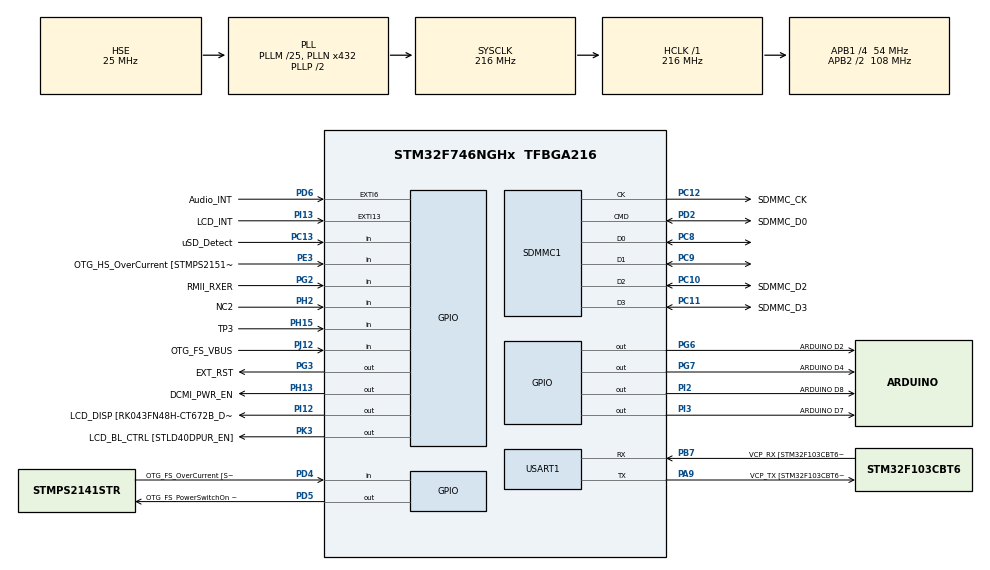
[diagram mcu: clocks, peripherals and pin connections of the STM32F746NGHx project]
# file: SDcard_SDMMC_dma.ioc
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Dma.Request0=SDMMC1_RX
Dma.Request1=SDMMC1_TX
Dma.SDMMC1_RX.0.Direction=DMA_PERIPH_TO_MEMORY
Dma.SDMMC1_RX.0.FIFOMode=DMA_FIFOMODE_ENABLE
Dma.SDMMC1_RX.0.FIFOThreshold=DMA_FIFO_THRESHOLD_FULL
Dma.SDMMC1_RX.0.Instance=DMA2_Stream3
Dma.SDMMC1_RX.0.MemBurst=DMA_MBURST_INC4
Dma.SDMMC1_RX.0.MemDataAlignment=DMA_MDATAALIGN_WORD
Dma.SDMMC1_RX.0.MemInc=DMA_MINC_ENABLE
Dma.SDMMC1_RX.0.Mode=DMA_PFCTRL
Dma.SDMMC1_RX.0.PeriphBurst=DMA_PBURST_INC4
Dma.SDMMC1_RX.0.PeriphDataAlignment=DMA_PDATAALIGN_WORD
Dma.SDMMC1_RX.0.PeriphInc=DMA_PINC_DISABLE
Dma.SDMMC1_RX.0.Priority=DMA_PRIORITY_LOW
Dma.SDMMC1_TX.1.Direction=DMA_MEMORY_TO_PERIPH
Dma.SDMMC1_TX.1.FIFOMode=DMA_FIFOMODE_ENABLE
Dma.SDMMC1_TX.1.FIFOThreshold=DMA_FIFO_THRESHOLD_FULL
Dma.SDMMC1_TX.1.Instance=DMA2_Stream6
Dma.SDMMC1_TX.1.MemBurst=DMA_MBURST_INC4
Dma.SDMMC1_TX.1.MemDataAlignment=DMA_MDATAALIGN_WORD
Dma.SDMMC1_TX.1.MemInc=DMA_MINC_ENABLE
Dma.SDMMC1_TX.1.Mode=DMA_PFCTRL
Dma.SDMMC1_TX.1.PeriphBurst=DMA_PBURST_INC4
Dma.SDMMC1_TX.1.PeriphDataAlignment=DMA_PDATAALIGN_WORD
Dma.SDMMC1_TX.1.PeriphInc=DMA_PINC_DISABLE
Dma.SDMMC1_TX.1.Priority=DMA_PRIORITY_LOW
FATFS.BSP.number=1
FATFS.USE_DMA_CODE_SD=1
FATFS0.BSP.STBoard=false
FATFS0.BSP.api=Unknown
FATFS0.BSP.instance=PC13
FATFS0.BSP.ip=GPIO
FATFS0.BSP.mode=Input
FATFS0.BSP.name=Detect_SDIO
FATFS0.BSP.solution=PC13
Mcu.Family=STM32F7
Mcu.Name=STM32F746NGHx
Mcu.Package=TFBGA216
NVIC.DMA2_Stream3_IRQn=true\:0\:0\:false\:false\:true\:false\:true\:true
NVIC.DMA2_Stream6_IRQn=true\:0\:0\:false\:false\:true\:false\:true\:true
NVIC.PriorityGroup=NVIC_PRIORITYGROUP_4
NVIC.SDMMC1_IRQn=true\:0\:0\:false\:false\:true\:true\:true\:true
PA0/WKUP.GPIO_Label=ARDUINO A0
PA0/WKUP.GPIO_Mode=GPIO_MODE_ANALOG
PA0/WKUP.GPIO_PuPd=GPIO_NOPULL
PA0/WKUP.Signal=ADCx_IN0
PA1.GPIO_Label=RMII_REF_CLK [LAN8742A-CZ-TR_REFCLK0]
PA1.Signal=ETH_REF_CLK
PA10.GPIO_Label=OTG_FS_ID
PA10.Signal=USB_OTG_FS_ID
PA11.GPIO_Label=OTG_FS_N
PA11.Signal=USB_OTG_FS_DM
PA12.GPIO_Label=OTG_FS_P
PA12.Signal=USB_OTG_FS_DP
PA13.GPIO_Label=SWDIO
PA13.Mode=Serial_Wire
PA13.Signal=SYS_JTMS-SWDIO
PA14.GPIO_Label=SWCLK
PA14.Mode=Serial_Wire
PA14.Signal=SYS_JTCK-SWCLK
PA15.GPIO_Label=ARDUINO PWM/D9
PA15.GPIO_ModeDefaultPP=GPIO_MODE_AF_PP
PA15.GPIO_PuPd=GPIO_NOPULL
PA15.GPIO_Speed=GPIO_SPEED_FREQ_LOW
PA15.Signal=S_TIM2_CH1_ETR
PA2.GPIO_Label=RMII_MDIO [LAN8742A-CZ-TR_MDIO]
PA2.Signal=ETH_MDIO
PA3.GPIO_Label=ULPI_D0 [USB3320C-EZK_D0]
PA3.Signal=USB_OTG_HS_ULPI_D0
PA4.GPIO_Label=DCMI_HSYNC
PA4.Signal=DCMI_HSYNC
PA5.GPIO_Label=ULPI_CLK [USB3320C-EZK_CLKOUT]
PA5.Signal=USB_OTG_HS_ULPI_CK
PA6.Signal=DCMI_PIXCLK
PA7.GPIO_Label=RMII_CRS_DV [LAN8742A-CZ-TR_CRS_DV]
PA7.Signal=ETH_CRS_DV
PA8.GPIO_Label=ARDUINO PWM/D10
PA8.GPIO_ModeDefaultPP=GPIO_MODE_AF_PP
PA8.GPIO_PuPd=GPIO_NOPULL
PA8.GPIO_Speed=GPIO_SPEED_FREQ_LOW
PA8.Signal=S_TIM1_CH1
PA9.GPIO_Label=VCP_TX [STM32F103CBT6_PA3]
PA9.GPIO_Mode=GPIO_MODE_AF_PP
PA9.GPIO_PuPd=GPIO_NOPULL
PA9.GPIO_Speed=GPIO_SPEED_FREQ_LOW
PA9.Mode=Asynchronous
PA9.Signal=USART1_TX
PB0.GPIO_Label=ULPI_D1 [USB3320C-EZK_D1]
PB0.Signal=USB_OTG_HS_ULPI_D1
PB1.GPIO_Label=ULPI_D2 [USB3320C-EZK_D2]
PB1.Signal=USB_OTG_HS_ULPI_D2
PB10.GPIO_Label=ULPI_D3 [USB3320C-EZK_D3]
PB10.Signal=USB_OTG_HS_ULPI_D3
PB11.GPIO_Label=ULPI_D4 [USB3320C-EZK_D4]
PB11.Signal=USB_OTG_HS_ULPI_D4
PB12.GPIO_Label=ULPI_D5 [USB3320C-EZK_D5]
PB12.Signal=USB_OTG_HS_ULPI_D5
PB13.GPIO_Label=ULPI_D6 [USB3320C-EZK_D6]
PB13.Signal=USB_OTG_HS_ULPI_D6
PB14.GPIO_Label=ARDUINO MISO/D12
PB14.GPIO_Mode=GPIO_MODE_AF_PP
PB14.GPIO_PuPd=GPIO_NOPULL
PB14.GPIO_Speed=GPIO_SPEED_FREQ_LOW
PB14.Signal=SPI2_MISO
PB15.GPIO_Label=ARDUINO MOSI/PWM/D11
PB15.GPIO_Mode=GPIO_MODE_AF_PP
PB15.GPIO_PuPd=GPIO_NOPULL
PB15.GPIO_Speed=GPIO_SPEED_FREQ_LOW
PB15.Signal=SPI2_MOSI
PB2.Signal=QUADSPI_CLK
PB3.GPIO_Label=SWO
PB3.Signal=SYS_JTDO-SWO
PB4.GPIO_Label=ARDUINO PWM/D3
PB4.GPIO_ModeDefaultPP=GPIO_MODE_AF_PP
PB4.GPIO_PuPd=GPIO_NOPULL
PB4.GPIO_Speed=GPIO_SPEED_FREQ_LOW
PB4.Signal=S_TIM3_CH1
PB5.GPIO_Label=ULPI_D7 [USB3320C-EZK_D7]
PB5.Signal=USB_OTG_HS_ULPI_D7
PB6.GPIO_Label=QSPI_NCS [N25Q128A13EF840E_S]
PB6.Signal=QUADSPI_BK1_NCS
PB7.GPIO_Label=VCP_RX [STM32F103CBT6_PA2]
PB7.GPIO_Mode=GPIO_MODE_AF_PP
PB7.GPIO_PuPd=GPIO_NOPULL
PB7.GPIO_Speed=GPIO_SPEED_FREQ_LOW
PB7.Mode=Asynchronous
PB7.Signal=USART1_RX
PB8.GPIO_Label=ARDUINO SCL/D15
PB8.GPIO_Mode=GPIO_MODE_AF_OD
PB8.GPIO_PuPd=GPIO_NOPULL
PB8.GPIO_Speed=GPIO_SPEED_FREQ_LOW
PB8.Signal=I2C1_SCL
PB9.GPIO_Label=ARDUINO SDA/D14
PB9.GPIO_Mode=GPIO_MODE_AF_OD
PB9.GPIO_PuPd=GPIO_NOPULL
PB9.GPIO_Speed=GPIO_SPEED_FREQ_LOW
PB9.Signal=I2C1_SDA
PC0.GPIO_Label=ULPI_STP [USB3320C-EZK_STP]
PC0.Signal=USB_OTG_HS_ULPI_STP
PC1.GPIO_Label=RMII_MDC [LAN8742A-CZ-TR_MDC]
PC1.Signal=ETH_MDC
PC10.GPIO_Label=SDMMC_D2
PC10.Mode=SD_4_bits_Wide_bus
PC10.Signal=SDMMC1_D2
PC11.GPIO_Label=SDMMC_D3
PC11.Mode=SD_4_bits_Wide_bus
PC11.Signal=SDMMC1_D3
PC12.GPIO_Label=SDMMC_CK
PC12.Mode=SD_4_bits_Wide_bus
PC12.Signal=SDMMC1_CK
PC13.GPIO_Label=uSD_Detect
PC13.Signal=GPIO_Input
PC14/OSC32_IN.GPIO_Label=RCC_OSC32_IN
PC14/OSC32_IN.Mode=LSE-External-Oscillator
PC14/OSC32_IN.Signal=RCC_OSC32_IN
PC15/OSC32_OUT.GPIO_Label=RCC_OSC32_OUT
PC15/OSC32_OUT.Mode=LSE-External-Oscillator
PC15/OSC32_OUT.Signal=RCC_OSC32_OUT
PC2.GPIO_Label=ULPI_DIR [USB3320C-EZK_DIR]
PC2.Signal=USB_OTG_HS_ULPI_DIR
PC3.GPIO_Label=FMC_SDCKE0 [MT48LC4M32B2B5-6A_CKE]
PC3.Signal=FMC_SDCKE0
PC4.GPIO_Label=RMII_RXD0 [LAN8742A-CZ-TR_RXD0]
PC4.Signal=ETH_RXD0
PC5.GPIO_Label=RMII_RXD1 [LAN8742A-CZ-TR_RXD1]
PC5.Signal=ETH_RXD1
PC6.GPIO_Label=ARDUINO TX/D1
PC6.Signal=USART6_TX
PC7.GPIO_Label=ARDUINO RX/D0
PC7.Signal=USART6_RX
PC8.Mode=SD_4_bits_Wide_bus
PC8.Signal=SDMMC1_D0
PC9.Mode=SD_4_bits_Wide_bus
PC9.Signal=SDMMC1_D1
PD0.GPIO_Label=FMC_D2 [MT48LC4M32B2B5-6A_DQ2]
PD0.Signal=FMC_D2_DA2
PD1.GPIO_Label=FMC_D3 [MT48LC4M32B2B5-6A_DQ3]
PD1.Signal=FMC_D3_DA3
PD10.GPIO_Label=FMC_D15 [MT48LC4M32B2B5-6A_DQ15]
PD10.Signal=FMC_D15_DA15
PD11.GPIO_Label=QSPI_D0 [N25Q128A13EF840E_DQ0]
PD11.Signal=QUADSPI_BK1_IO0
PD12.GPIO_Label=QSPI_D1 [N25Q128A13EF840E_DQ1]
PD12.Signal=QUADSPI_BK1_IO1
PD13.GPIO_Label=QSPI_D3 [N25Q128A13EF840E_DQ3]
PD13.Signal=QUADSPI_BK1_IO3
PD14.GPIO_Label=FMC_D0 [MT48LC4M32B2B5-6A_DQ0]
PD14.Signal=FMC_D0_DA0
PD15.GPIO_Label=FMC_D1 [MT48LC4M32B2B5-6A_DQ1]
PD15.Signal=FMC_D1_DA1
PD2.GPIO_Label=SDMMC_D0
PD2.Mode=SD_4_bits_Wide_bus
PD2.Signal=SDMMC1_CMD
PD3.GPIO_Label=DCMI_D5
PD3.Signal=DCMI_D5
PD4.GPIO_Label=OTG_FS_OverCurrent [STMPS2141STR_Fault]
PD4.Signal=GPIO_Input
PD5.GPIO_Label=OTG_FS_PowerSwitchOn [STMPS2141STR_EN]
PD5.PinState=GPIO_PIN_SET
PD5.Signal=GPIO_Output
PD6.GPIO_Label=Audio_INT
PD6.GPIO_ModeDefaultEXTI=GPIO_MODE_EVT_RISING
PD6.Signal=GPXTI6
PD7.GPIO_Label=SPDIF_RX0 [74LVC1G04SE_4]
PD7.Signal=SPDIFRX_IN0
PD8.GPIO_Label=FMC_D13 [MT48LC4M32B2B5-6A_DQ13]
PD8.Signal=FMC_D13_DA13
PD9.GPIO_Label=FMC_D14 [MT48LC4M32B2B5-6A_DQ14]
PD9.Signal=FMC_D14_DA14
PE0.GPIO_Label=FMC_NBL0 [MT48LC4M32B2B5-6A_DQM0]
PE0.Signal=FMC_NBL0
PE1.GPIO_Label=FMC_NBL1 [MT48LC4M32B2B5-6A_DQM1]
PE1.Signal=FMC_NBL1
PE10.GPIO_Label=FMC_D7 [MT48LC4M32B2B5-6A_DQ7]
PE10.Signal=FMC_D7_DA7
PE11.GPIO_Label=FMC_D8 [MT48LC4M32B2B5-6A_DQ8]
PE11.Signal=FMC_D8_DA8
PE12.GPIO_Label=FMC_D9 [MT48LC4M32B2B5-6A_DQ9]
PE12.Signal=FMC_D9_DA9
PE13.GPIO_Label=FMC_D10 [MT48LC4M32B2B5-6A_DQ10]
PE13.Signal=FMC_D10_DA10
PE14.GPIO_Label=FMC_D11 [MT48LC4M32B2B5-6A_DQ11]
PE14.Signal=FMC_D11_DA11
PE15.GPIO_Label=FMC_D12 [MT48LC4M32B2B5-6A_DQ12]
PE15.Signal=FMC_D12_DA12
PE2.GPIO_Label=QSPI_D2 [N25Q128A13EF840E_DQ2]
PE2.Signal=QUADSPI_BK1_IO2
PE3.GPIO_Label=OTG_HS_OverCurrent [STMPS2151STR_FAULT]
PE3.Signal=GPIO_Input
PE4.GPIO_Label=LCD_B0 [RK043FN48H-CT672B_B0]
PE4.Signal=LTDC_B0
PE5.GPIO_Label=DCMI_D6
PE5.Signal=DCMI_D6
PE6.GPIO_Label=DCMI_D7
PE6.Signal=DCMI_D7
PE7.GPIO_Label=FMC_D4 [MT48LC4M32B2B5-6A_DQ4]
PE7.Signal=FMC_D4_DA4
PE8.GPIO_Label=FMC_D5 [MT48LC4M32B2B5-6A_DQ5]
PE8.Signal=FMC_D5_DA5
PE9.GPIO_Label=FMC_D6 [MT48LC4M32B2B5-6A_DQ6]
PE9.Signal=FMC_D6_DA6
PF0.GPIO_Label=FMC_A0 [MT48LC4M32B2B5-6A_A0]
PF0.Signal=FMC_A0
PF1.GPIO_Label=FMC_A1 [MT48LC4M32B2B5-6A_A1]
PF1.Signal=FMC_A1
PF10.GPIO_Label=ARDUINO A1
PF10.GPIO_Mode=GPIO_MODE_ANALOG
PF10.GPIO_PuPd=GPIO_NOPULL
PF10.Signal=ADC3_IN8
PF11.GPIO_Label=FMC_SDNRAS [MT48LC4M32B2B5-6A_RAS]
PF11.Signal=FMC_SDNRAS
PF12.GPIO_Label=FMC_A6 [MT48LC4M32B2B5-6A_A6]
PF12.Signal=FMC_A6
PF13.GPIO_Label=FMC_A7 [MT48LC4M32B2B5-6A_A7]
PF13.Signal=FMC_A7
PF14.GPIO_Label=FMC_A8 [MT48LC4M32B2B5-6A_A8]
PF14.Signal=FMC_A8
PF15.GPIO_Label=FMC_A9 [MT48LC4M32B2B5-6A_A9]
PF15.Signal=FMC_A9
PF2.GPIO_Label=FMC_A2 [MT48LC4M32B2B5-6A_A2]
PF2.Signal=FMC_A2
PF3.GPIO_Label=FMC_A3 [MT48LC4M32B2B5-6A_A3]
PF3.Signal=FMC_A3
PF4.GPIO_Label=FMC_A4 [MT48LC4M32B2B5-6A_A4]
PF4.Signal=FMC_A4
PF5.GPIO_Label=FMC_A5 [MT48LC4M32B2B5-6A_A5]
PF5.Signal=FMC_A5
PF6.GPIO_Label=ARDUINO A5
PF6.GPIO_Mode=GPIO_MODE_ANALOG
PF6.GPIO_PuPd=GPIO_NOPULL
PF6.Signal=ADC3_IN4
PF7.GPIO_Label=ARDUINO A4
PF7.GPIO_Mode=GPIO_MODE_ANALOG
PF7.GPIO_PuPd=GPIO_NOPULL
PF7.Signal=ADC3_IN5
PF8.GPIO_Label=ARDUINO A3
PF8.GPIO_Mode=GPIO_MODE_ANALOG
PF8.GPIO_PuPd=GPIO_NOPULL
PF8.Signal=ADC3_IN6
PF9.GPIO_Label=ARDUINO A2
PF9.GPIO_Mode=GPIO_MODE_ANALOG
PF9.GPIO_PuPd=GPIO_NOPULL
PF9.Signal=ADC3_IN7
PG0.GPIO_Label=FMC_A10 [MT48LC4M32B2B5-6A_A10]
PG0.Signal=FMC_A10
PG1.GPIO_Label=FMC_A11 [MT48LC4M32B2B5-6A_A11]
PG1.Signal=FMC_A11
PG10.GPIO_Label=SAI2_SDB [WM8994ECS/R_ADCDAT1]
PG10.Signal=SAI2_SD_B
PG11.GPIO_Label=RMII_TX_EN [LAN8742A-CZ-TR_TXEN]
PG11.Signal=ETH_TX_EN
PG12.GPIO_Label=LCD_B4 [RK043FN48H-CT672B_B4]
PG12.Signal=LTDC_B4
PG13.GPIO_Label=RMII_TXD0 [LAN8742A-CZ-TR_TXD0]
PG13.Signal=ETH_TXD0
PG14.GPIO_Label=RMII_TXD1 [LAN8742A-CZ-TR_TXD1]
PG14.Signal=ETH_TXD1
PG15.GPIO_Label=FMC_SDNCAS [MT48LC4M32B2B5-6A_CAS]
PG15.Signal=FMC_SDNCAS
PG2.GPIO_Label=RMII_RXER
PG2.Signal=GPIO_Input
PG3.GPIO_Label=EXT_RST
PG3.Signal=GPIO_Output
PG4.GPIO_Label=FMC_BA0 [MT48LC4M32B2B5-6A_BA0]
PG4.Signal=FMC_A14_BA0
PG5.GPIO_Label=FMC_BA1 [MT48LC4M32B2B5-6A_BA1]
PG5.Signal=FMC_A15_BA1
PG6.GPIO_Label=ARDUINO D2
PG6.Signal=GPIO_Output
PG7.GPIO_Label=ARDUINO D4
PG7.Signal=GPIO_Output
PG8.GPIO_Label=FMC_SDCLK [MT48LC4M32B2B5-6A_CLK]
PG8.Signal=FMC_SDCLK
PG9.GPIO_Label=DCMI_VSYNC
PG9.Signal=DCMI_VSYNC
PH0/OSC_IN.GPIO_Label=OSC_25M [NZ2520SB-25.00M_OUT]
PH0/OSC_IN.Mode=HSE-External-Oscillator
PH0/OSC_IN.Signal=RCC_OSC_IN
PH1/OSC_OUT.Mode=HSE-External-Oscillator
PH1/OSC_OUT.Signal=RCC_OSC_OUT
PH10.GPIO_Label=DCMI_D1
PH10.Signal=DCMI_D1
PH11.GPIO_Label=DCMI_D2
PH11.Signal=DCMI_D2
PH12.GPIO_Label=DCMI_D3
PH12.Signal=DCMI_D3
PH13.GPIO_Label=DCMI_PWR_EN
PH13.Signal=GPIO_Output
PH14.GPIO_Label=DCMI_D4
PH14.Signal=DCMI_D4
PH15.GPIO_Label=TP3
PH15.Signal=GPIO_Input
PH2.GPIO_Label=NC2
PH2.Signal=GPIO_Input
PH3.GPIO_Label=FMC_SDNE0 [MT48LC4M32B2B5-6A_CS]
PH3.Signal=FMC_SDNE0
PH4.GPIO_Label=ULPI_NXT [USB3320C-EZK_NXT]
PH4.Signal=USB_OTG_HS_ULPI_NXT
PH5.GPIO_Label=FMC_SDNME [MT48LC4M32B2B5-6A_WE]
PH5.Signal=FMC_SDNWE
PH6.GPIO_Label=ARDUINO PWM/D6
PH6.Signal=S_TIM12_CH1
PH7.GPIO_Label=LCD_SCL [RK043FN48H-CT672B_SCL]
PH7.Signal=I2C3_SCL
PH8.GPIO_Label=LCD_SDA [RK043FN48H-CT672B_SDA]
PH8.Signal=I2C3_SDA
PH9.GPIO_Label=DCMI_D0
PH9.Signal=DCMI_D0
PI0.GPIO_Label=ARDUINO PWM/CS/D5
PI0.GPIO_ModeDefaultPP=GPIO_MODE_AF_PP
PI0.GPIO_PuPd=GPIO_NOPULL
PI0.GPIO_Speed=GPIO_SPEED_FREQ_LOW
PI0.Signal=S_TIM5_CH4
PI1.GPIO_Label=ARDUINO SCK/D13
PI1.GPIO_Mode=GPIO_MODE_AF_PP
PI1.GPIO_PuPd=GPIO_NOPULL
PI1.GPIO_Speed=GPIO_SPEED_FREQ_LOW
PI1.Signal=SPI2_SCK
PI10.GPIO_Label=LCD_HSYNC [RK043FN48H-CT672B_HSYNC]
PI10.Signal=LTDC_HSYNC
PI12.GPIO_Label=LCD_DISP [RK043FN48H-CT672B_DISP] 
PI12.Signal=GPIO_Output
PI13.GPIO_Label=LCD_INT
PI13.GPIO_ModeDefaultEXTI=GPIO_MODE_EVT_RISING
PI13.Signal=GPXTI13
PI14.GPIO_Label=LCD_CLK [RK043FN48H-CT672B_CLK]
PI14.Signal=LTDC_CLK
PI15.GPIO_Label=LCD_R0 [RK043FN48H-CT672B_R0]
PI15.Signal=LTDC_R0
PI2.GPIO_Label=ARDUINO D8
PI2.Signal=GPIO_Output
PI3.GPIO_Label=ARDUINO D7
PI3.Signal=GPIO_Output
PI4.GPIO_Label=SAI2_MCLKA [WM8994ECS/R_MCLK1]
PI4.Signal=SAI2_MCLK_A
PI5.GPIO_Label=SAI2_SCKA [WM8994ECS/R_BCLK1]
PI5.Signal=SAI2_SCK_A
PI6.GPIO_Label=SAI2_SDA [WM8994ECS/R_DACDAT1]
PI6.Signal=SAI2_SD_A
PI7.GPIO_Label=SAI2_FSA [WM8994ECS/R_LRCLK1]
PI7.Signal=SAI2_FS_A
PI8.GPIO_Label=NC1 [TP2]
PI8.Signal=RTC_TS
PI9.GPIO_Label=LCD_VSYNC [RK043FN48H-CT672B_VSYNC]
PI9.Signal=LTDC_VSYNC
PJ0.GPIO_Label=LCD_R1 [RK043FN48H-CT672B_R1]
PJ0.Signal=LTDC_R1
PJ1.GPIO_Label=LCD_R2 [RK043FN48H-CT672B_R2]
PJ1.Signal=LTDC_R2
PJ10.GPIO_Label=LCD_G3 [RK043FN48H-CT672B_G3]
PJ10.Signal=LTDC_G3
PJ11.GPIO_Label=LCD_G4 [RK043FN48H-CT672B_G4]
PJ11.Signal=LTDC_G4
PJ12.GPIO_Label=OTG_FS_VBUS
PJ12.Signal=GPIO_Input
PJ13.GPIO_Label=LCD_B1 [RK043FN48H-CT672B_B1]
PJ13.Signal=LTDC_B1
PJ14.GPIO_Label=LCD_B2 [RK043FN48H-CT672B_B2]
PJ14.Signal=LTDC_B2
PJ15.GPIO_Label=LCD_B3 [RK043FN48H-CT672B_B3]
PJ15.Signal=LTDC_B3
PJ2.GPIO_Label=LCD_R3 [RK043FN48H-CT672B_R3]
PJ2.Signal=LTDC_R3
PJ3.GPIO_Label=LCD_R4 [RK043FN48H-CT672B_R4]
PJ3.Signal=LTDC_R4
PJ4.GPIO_Label=LCD_R5 [RK043FN48H-CT672B_R5]
PJ4.Signal=LTDC_R5
PJ5.GPIO_Label=LCD_R6 [RK043FN48H-CT672B_R6]
PJ5.Signal=LTDC_R6
PJ6.GPIO_Label=LCD_R7 [RK043FN48H-CT672B_R7]
PJ6.Signal=LTDC_R7
PJ7.GPIO_Label=LCD_G0 [RK043FN48H-CT672B_G0]
PJ7.Signal=LTDC_G0
PJ8.GPIO_Label=LCD_G1 [RK043FN48H-CT672B_G1]
PJ8.Signal=LTDC_G1
PJ9.GPIO_Label=LCD_G2 [RK043FN48H-CT672B_G2]
PJ9.Signal=LTDC_G2
PK0.GPIO_Label=LCD_G5 [RK043FN48H-CT672B_G5]
PK0.Signal=LTDC_G5
PK1.GPIO_Label=LCD_G6 [RK043FN48H-CT672B_G6]
PK1.Signal=LTDC_G6
PK2.GPIO_Label=LCD_G7 [RK043FN48H-CT672B_G7]
PK2.Signal=LTDC_G7
PK3.GPIO_Label=LCD_BL_CTRL [STLD40DPUR_EN]
PK3.Signal=GPIO_Output
PK4.GPIO_Label=LCD_B5 [RK043FN48H-CT672B_B5]
PK4.Signal=LTDC_B5
PK5.GPIO_Label=LCD_B6 [RK043FN48H-CT672B_B6]
PK5.Signal=LTDC_B6
PK6.GPIO_Label=LCD_B7 [RK043FN48H-CT672B_B7]
PK6.Signal=LTDC_B7
PK7.GPIO_Label=LCD_DE [RK043FN48H-CT672B_DE]
PK7.Signal=LTDC_DE
ProjectManager.HeapSize=0x400
ProjectManager.StackSize=0x800
ProjectManager.TargetToolchain=STM32CubeIDE
RCC.AHBFreq_Value=216000000
RCC.APB1CLKDivider=RCC_HCLK_DIV4
RCC.APB1Freq_Value=54000000
RCC.APB1TimFreq_Value=108000000
RCC.APB2CLKDivider=RCC_HCLK_DIV2
RCC.APB2Freq_Value=108000000
RCC.APB2TimFreq_Value=216000000
RCC.CortexFreq_Value=216000000
RCC.HCLKFreq_Value=216000000
RCC.HSE_VALUE=25000000
RCC.HSI_VALUE=16000000
RCC.PLLM=25
RCC.PLLN=432
RCC.PLLQ=9
RCC.PLLSourceVirtual=RCC_PLLSOURCE_HSE
RCC.SDMMCClockSelection=RCC_SDMMC1CLKSOURCE_CLK48
RCC.SYSCLKFreq_VALUE=216000000
RCC.SYSCLKSource=RCC_SYSCLKSOURCE_PLLCLK
RCC.USBFreq_Value=48000000
RCC.VCOOutputFreq_Value=432000000
SH.ADCx_IN0.0=ADC3_IN0
SH.FMC_A0.0=FMC_A0
SH.FMC_A1.0=FMC_A1
SH.FMC_A10.0=FMC_A10
SH.FMC_A11.0=FMC_A11
SH.FMC_A14_BA0.0=FMC_BA0
SH.FMC_A15_BA1.0=FMC_BA1
SH.FMC_A2.0=FMC_A2
SH.FMC_A3.0=FMC_A3
SH.FMC_A4.0=FMC_A4
SH.FMC_A5.0=FMC_A5
SH.FMC_A6.0=FMC_A6
SH.FMC_A7.0=FMC_A7
SH.FMC_A8.0=FMC_A8
SH.FMC_A9.0=FMC_A9
SH.FMC_D0_DA0.0=FMC_D0
SH.FMC_D10_DA10.0=FMC_D10
SH.FMC_D11_DA11.0=FMC_D11
SH.FMC_D12_DA12.0=FMC_D12
SH.FMC_D13_DA13.0=FMC_D13
SH.FMC_D14_DA14.0=FMC_D14
SH.FMC_D15_DA15.0=FMC_D15
SH.FMC_D1_DA1.0=FMC_D1
SH.FMC_D2_DA2.0=FMC_D2
SH.FMC_D3_DA3.0=FMC_D3
SH.FMC_D4_DA4.0=FMC_D4
SH.FMC_D5_DA5.0=FMC_D5
SH.FMC_D6_DA6.0=FMC_D6
SH.FMC_D7_DA7.0=FMC_D7
SH.FMC_D8_DA8.0=FMC_D8
SH.FMC_D9_DA9.0=FMC_D9
SH.FMC_NBL0.0=FMC_NBL0
SH.FMC_NBL1.0=FMC_NBL1
SH.FMC_SDCLK.0=FMC_SDCLK
SH.FMC_SDNCAS.0=FMC_SDNCAS
SH.FMC_SDNRAS.0=FMC_SDNRAS
SH.FMC_SDNWE.0=FMC_SDNWE
SH.S_TIM12_CH1.0=TIM12_CH1
SH.S_TIM1_CH1.0=TIM1_CH1
SH.S_TIM2_CH1_ETR.0=TIM2_CH1
SH.S_TIM3_CH1.0=TIM3_CH1
SH.S_TIM5_CH4.0=TIM5_CH4
USART1.VirtualMode-Asynchronous=VM_ASYNC
VP_FATFS_VS_SDIO.Mode=SDIO
board=STM32F746G-DISCO

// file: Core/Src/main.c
/* USER CODE BEGIN Header */
/**
  ******************************************************************************
  * @file           : main.c
  * @brief          : Main program body
  ******************************************************************************
  * @attention
  *
  * Copyright (c) 2025 STMicroelectronics.
  * All rights reserved.
  *
  * This software is licensed under terms that can be found in the LICENSE file
  * in the root directory of this software component.
  * If no LICENSE file comes with this software, it is provided AS-IS.
  *
  ******************************************************************************
  */
/* USER CODE END Header */
#include "main.h"
#include "fatfs.h"
#include <stdio.h>
#include <string.h>

SD_HandleTypeDef hsd1;
DMA_HandleTypeDef hdma_sdmmc1_rx;
DMA_HandleTypeDef hdma_sdmmc1_tx;

UART_HandleTypeDef huart1;

static uint8_t workBuffer[_MAX_SS];

/* USER CODE BEGIN PV */
int __io_putchar(int ch){
	uint8_t c = (uint8_t)ch;
	HAL_UART_Transmit(&huart1, &c, 1, HAL_MAX_DELAY);
	return ch;
}
int fputc(int ch, FILE *f){
	return __io_putchar(ch);
}
/* USER CODE END PV */

void SystemClock_Config(void);
static void MX_GPIO_Init(void);
static void MX_DMA_Init(void);
static void MX_SDMMC1_SD_Init(void);
static void MX_USART1_UART_Init(void);

int main(void)
{

  /* USER CODE BEGIN 1 */
	FRESULT res = FR_NOT_READY;                       /* FatFs function common result code */
	uint32_t bytesToWritten = 0;                      /* File write counts */
	uint32_t bytesToRead = 0;                         /* File read counts */
	uint8_t filePath[] = "STM32.TXT";                 /* File path buffer */
	uint8_t writeText[] = "STM32F746G FatFs + uSD";   /* File write buffer */
	uint8_t readText[100];                            /* File read buffer */
  /* USER CODE END 1 */

  /* MCU Configuration--------------------------------------------------------*/

  /* Reset of all peripherals, Initializes the Flash interface and the Systick. */
  HAL_Init();

  /* Configure the system clock */
  SystemClock_Config();

  /* Initialize all configured peripherals */
  MX_GPIO_Init();
  MX_DMA_Init();
  MX_SDMMC1_SD_Init();
  MX_USART1_UART_Init();
  MX_FATFS_Init();
  /* USER CODE BEGIN 2 */
  /* --- DEBUG helper: in trạng thái uSD detect + mount without formatting --- */
  printf("UART alive\n");

  /* 0) debug: read SD detect pin (if defined) */
  #ifdef uSD_Detect_GPIO_Port
    GPIO_PinState detect = HAL_GPIO_ReadPin(uSD_Detect_GPIO_Port, uSD_Detect_Pin);
    printf("uSD_Detect pin = %d (0=inserted on many boards, 1=not inserted) \r\n", (int)detect);
  #else
    printf("uSD_Detect pin NOT defined in this build.\r\n");
  #endif

  /* 1) link driver */
  int linkRes = FATFS_LinkDriver(&SD_Driver, SDPath);
  printf("FATFS_LinkDriver() = %d\r\n", linkRes);

  /* 2) try mount (don't format) */
  FRESULT fres = f_mount(&SDFatFS, (TCHAR const*)SDPath, 1);
  printf("f_mount() returned: %d\r\n", (int)fres);
  if (fres != FR_OK) {
      /* print a human-friendly hint */
      if (fres == FR_NO_FILESYSTEM) {
        printf("Mount failed: no filesystem (FR_NO_FILESYSTEM) - maybe unformatted card.\r\n");
      } else if (fres == FR_NOT_READY) {
        printf("Mount failed: NOT_READY (maybe card not detected or init failed).\r\n");
      } else {
        printf("Mount failed: code %d\r\n", (int)fres);
      }
      /* keep running so output stays visible, do not format yet */
  } else {
      printf("Mount OK. Trying file open/write test...\r\n");
      /* simple write/read test */
      FRESULT resw;
      FIL f;
      UINT bw, br;
      resw = f_open(&f, (const TCHAR*)"TEST.TXT", FA_CREATE_ALWAYS | FA_WRITE);
      printf("f_open(write) => %d\r\n", (int)resw);
      if (resw == FR_OK) {
          const char *s = "Hello from STM32F746G\r\n";
          f_write(&f, s, strlen(s), &bw);
          printf("f_write wrote %u bytes, res=%d\r\n", bw, (int)resw);
          f_close(&f);

          /* read back */
          resw = f_open(&f, (const TCHAR*)"TEST.TXT", FA_READ);
          printf("f_open(read) => %d\r\n", (int)resw);
          if (resw == FR_OK) {
              char buf[64] = {0};
              f_read(&f, buf, sizeof(buf)-1, &br);
              printf("Read %u bytes: '%s'\r\n", br, buf);
              f_close(&f);
          }
      }
      /* unmount at end of test */
      f_mount(NULL, (TCHAR const*)SDPath, 1);
      FATFS_UnLinkDriver(SDPath);
  }
  /* USER CODE END 2 */

  /* Infinite loop */
  while (1)
  {
	  HAL_Delay(500);
  }
}

void SystemClock_Config(void)
{
  RCC_OscInitTypeDef RCC_OscInitStruct = {0};
  RCC_ClkInitTypeDef RCC_ClkInitStruct = {0};

  /** Configure LSE Drive Capability
  */
  HAL_PWR_EnableBkUpAccess();

  /** Configure the main internal regulator output voltage
  */
  __HAL_RCC_PWR_CLK_ENABLE();
  __HAL_PWR_VOLTAGESCALING_CONFIG(PWR_REGULATOR_VOLTAGE_SCALE1);

  /** Initializes the RCC Oscillators according to the specified parameters
  * in the RCC_OscInitTypeDef structure.
  */
  RCC_OscInitStruct.OscillatorType = RCC_OSCILLATORTYPE_HSE;
  RCC_OscInitStruct.HSEState = RCC_HSE_ON;
  RCC_OscInitStruct.PLL.PLLState = RCC_PLL_ON;
  RCC_OscInitStruct.PLL.PLLSource = RCC_PLLSOURCE_HSE;
  RCC_OscInitStruct.PLL.PLLM = 25;
  RCC_OscInitStruct.PLL.PLLN = 432;
  RCC_OscInitStruct.PLL.PLLP = RCC_PLLP_DIV2;
  RCC_OscInitStruct.PLL.PLLQ = 9;
  if (HAL_RCC_OscConfig(&RCC_OscInitStruct) != HAL_OK)
  {
    Error_Handler();
  }

  /** Activate the Over-Drive mode
  */
  if (HAL_PWREx_EnableOverDrive() != HAL_OK)
  {
    Error_Handler();
  }

  /** Initializes the CPU, AHB and APB buses clocks
  */
  RCC_ClkInitStruct.ClockType = RCC_CLOCKTYPE_HCLK|RCC_CLOCKTYPE_SYSCLK
                              |RCC_CLOCKTYPE_PCLK1|RCC_CLOCKTYPE_PCLK2;
  RCC_ClkInitStruct.SYSCLKSource = RCC_SYSCLKSOURCE_PLLCLK;
  RCC_ClkInitStruct.AHBCLKDivider = RCC_SYSCLK_DIV1;
  RCC_ClkInitStruct.APB1CLKDivider = RCC_HCLK_DIV4;
  RCC_ClkInitStruct.APB2CLKDivider = RCC_HCLK_DIV2;

  if (HAL_RCC_ClockConfig(&RCC_ClkInitStruct, FLASH_LATENCY_7) != HAL_OK)
  {
    Error_Handler();
  }
}

static void MX_SDMMC1_SD_Init(void)
{

  hsd1.Instance = SDMMC1;
  hsd1.Init.ClockEdge = SDMMC_CLOCK_EDGE_RISING;
  hsd1.Init.ClockBypass = SDMMC_CLOCK_BYPASS_DISABLE;
  hsd1.Init.ClockPowerSave = SDMMC_CLOCK_POWER_SAVE_DISABLE;
  hsd1.Init.BusWide = SDMMC_BUS_WIDE_1B;
  hsd1.Init.HardwareFlowControl = SDMMC_HARDWARE_FLOW_CONTROL_DISABLE;
  hsd1.Init.ClockDiv = 0;

}

static void MX_USART1_UART_Init(void)
{

  huart1.Instance = USART1;
  huart1.Init.BaudRate = 115200;
  huart1.Init.WordLength = UART_WORDLENGTH_8B;
  huart1.Init.StopBits = UART_STOPBITS_1;
  huart1.Init.Parity = UART_PARITY_NONE;
  huart1.Init.Mode = UART_MODE_TX_RX;
  huart1.Init.HwFlowCtl = UART_HWCONTROL_NONE;
  huart1.Init.OverSampling = UART_OVERSAMPLING_16;
  huart1.Init.OneBitSampling = UART_ONE_BIT_SAMPLE_DISABLE;
  huart1.AdvancedInit.AdvFeatureInit = UART_ADVFEATURE_NO_INIT;
  if (HAL_UART_Init(&huart1) != HAL_OK)
  {
    Error_Handler();
  }

}

static void MX_DMA_Init(void)
{

  /* DMA controller clock enable */
  __HAL_RCC_DMA2_CLK_ENABLE();

  /* DMA interrupt init */
  /* DMA2_Stream3_IRQn interrupt configuration */
  HAL_NVIC_SetPriority(DMA2_Stream3_IRQn, 0, 0);
  HAL_NVIC_EnableIRQ(DMA2_Stream3_IRQn);
  /* DMA2_Stream6_IRQn interrupt configuration */
  HAL_NVIC_SetPriority(DMA2_Stream6_IRQn, 0, 0);
  HAL_NVIC_EnableIRQ(DMA2_Stream6_IRQn);

}

static void MX_GPIO_Init(void)
{
  GPIO_InitTypeDef GPIO_InitStruct = {0};

  /* GPIO Ports Clock Enable */
  __HAL_RCC_GPIOE_CLK_ENABLE();
  __HAL_RCC_GPIOG_CLK_ENABLE();
  __HAL_RCC_GPIOB_CLK_ENABLE();
  __HAL_RCC_GPIOD_CLK_ENABLE();
  __HAL_RCC_GPIOC_CLK_ENABLE();
  __HAL_RCC_GPIOA_CLK_ENABLE();
  __HAL_RCC_GPIOJ_CLK_ENABLE();
  __HAL_RCC_GPIOI_CLK_ENABLE();
  __HAL_RCC_GPIOK_CLK_ENABLE();
  __HAL_RCC_GPIOF_CLK_ENABLE();
  __HAL_RCC_GPIOH_CLK_ENABLE();

  /*Configure GPIO pin Output Level */
  HAL_GPIO_WritePin(OTG_FS_PowerSwitchOn_GPIO_Port, OTG_FS_PowerSwitchOn_Pin, GPIO_PIN_SET);

  /*Configure GPIO pin Output Level */
  HAL_GPIO_WritePin(GPIOI, ARDUINO_D7_Pin|ARDUINO_D8_Pin|LCD_DISP_Pin, GPIO_PIN_RESET);

  /*Configure GPIO pin Output Level */
  HAL_GPIO_WritePin(LCD_BL_CTRL_GPIO_Port, LCD_BL_CTRL_Pin, GPIO_PIN_RESET);

  /*Configure GPIO pin Output Level */
  HAL_GPIO_WritePin(DCMI_PWR_EN_GPIO_Port, DCMI_PWR_EN_Pin, GPIO_PIN_RESET);

  /*Configure GPIO pin Output Level */
  HAL_GPIO_WritePin(GPIOG, ARDUINO_D4_Pin|ARDUINO_D2_Pin|EXT_RST_Pin, GPIO_PIN_RESET);

  /*Configure GPIO pin : LCD_B0_Pin */
  GPIO_InitStruct.Pin = LCD_B0_Pin;
  GPIO_InitStruct.Mode = GPIO_MODE_AF_PP;
  GPIO_InitStruct.Pull = GPIO_NOPULL;
  GPIO_InitStruct.Speed = GPIO_SPEED_FREQ_LOW;
  GPIO_InitStruct.Alternate = GPIO_AF14_LTDC;
  HAL_GPIO_Init(LCD_B0_GPIO_Port, &GPIO_InitStruct);

  /*Configure GPIO pin : OTG_HS_OverCurrent_Pin */
  GPIO_InitStruct.Pin = OTG_HS_OverCurrent_Pin;
  GPIO_InitStruct.Mode = GPIO_MODE_INPUT;
  GPIO_InitStruct.Pull = GPIO_NOPULL;
  HAL_GPIO_Init(OTG_HS_OverCurrent_GPIO_Port, &GPIO_InitStruct);

  /*Configure GPIO pin : QSPI_D2_Pin */
  GPIO_InitStruct.Pin = QSPI_D2_Pin;
  GPIO_InitStruct.Mode = GPIO_MODE_AF_PP;
  GPIO_InitStruct.Pull = GPIO_NOPULL;
  GPIO_InitStruct.Speed = GPIO_SPEED_FREQ_VERY_HIGH;
  GPIO_InitStruct.Alternate = GPIO_AF9_QUADSPI;
  HAL_GPIO_Init(QSPI_D2_GPIO_Port, &GPIO_InitStruct);

  /*Configure GPIO pins : RMII_TXD1_Pin RMII_TXD0_Pin RMII_TX_EN_Pin */
  GPIO_InitStruct.Pin = RMII_TXD1_Pin|RMII_TXD0_Pin|RMII_TX_EN_Pin;
  GPIO_InitStruct.Mode = GPIO_MODE_AF_PP;
  GPIO_InitStruct.Pull = GPIO_NOPULL;
  GPIO_InitStruct.Speed = GPIO_SPEED_FREQ_VERY_HIGH;
  GPIO_InitStruct.Alternate = GPIO_AF11_ETH;
  HAL_GPIO_Init(GPIOG, &GPIO_InitStruct);

  /*Configure GPIO pins : FMC_NBL1_Pin FMC_NBL0_Pin FMC_D5_Pin FMC_D6_Pin
                           FMC_D8_Pin FMC_D11_Pin FMC_D4_Pin FMC_D7_Pin
                           FMC_D9_Pin FMC_D12_Pin FMC_D10_Pin */
  GPIO_InitStruct.Pin = FMC_NBL1_Pin|FMC_NBL0_Pin|FMC_D5_Pin|FMC_D6_Pin
                          |FMC_D8_Pin|FMC_D11_Pin|FMC_D4_Pin|FMC_D7_Pin
                          |FMC_D9_Pin|FMC_D12_Pin|FMC_D10_Pin;
  GPIO_InitStruct.Mode = GPIO_MODE_AF_PP;
  GPIO_InitStruct.Pull = GPIO_NOPULL;
  GPIO_InitStruct.Speed = GPIO_SPEED_FREQ_VERY_HIGH;
  GPIO_InitStruct.Alternate = GPIO_AF12_FMC;
  HAL_GPIO_Init(GPIOE, &GPIO_InitStruct);

  /*Configure GPIO pins : ARDUINO_SCL_D15_Pin ARDUINO_SDA_D14_Pin */
  GPIO_InitStruct.Pin = ARDUINO_SCL_D15_Pin|ARDUINO_SDA_D14_Pin;
  GPIO_InitStruct.Mode = GPIO_MODE_AF_OD;
  GPIO_InitStruct.Pull = GPIO_NOPULL;
  GPIO_InitStruct.Speed = GPIO_SPEED_FREQ_LOW;
  GPIO_InitStruct.Alternate = GPIO_AF4_I2C1;
  HAL_GPIO_Init(GPIOB, &GPIO_InitStruct);

  /*Configure GPIO pins : ULPI_D7_Pin ULPI_D6_Pin ULPI_D5_Pin ULPI_D3_Pin
                           ULPI_D2_Pin ULPI_D1_Pin ULPI_D4_Pin */
  GPIO_InitStruct.Pin = ULPI_D7_Pin|ULPI_D6_Pin|ULPI_D5_Pin|ULPI_D3_Pin
                          |ULPI_D2_Pin|ULPI_D1_Pin|ULPI_D4_Pin;
  GPIO_InitStruct.Mode = GPIO_MODE_AF_PP;
  GPIO_InitStruct.Pull = GPIO_NOPULL;
  GPIO_InitStruct.Speed = GPIO_SPEED_FREQ_VERY_HIGH;
  GPIO_InitStruct.Alternate = GPIO_AF10_OTG_HS;
  HAL_GPIO_Init(GPIOB, &GPIO_InitStruct);

  /*Configure GPIO pin : ARDUINO_PWM_D3_Pin */
  GPIO_InitStruct.Pin = ARDUINO_PWM_D3_Pin;
  GPIO_InitStruct.Mode = GPIO_MODE_AF_PP;
  GPIO_InitStruct.Pull = GPIO_NOPULL;
  GPIO_InitStruct.Speed = GPIO_SPEED_FREQ_LOW;
  GPIO_InitStruct.Alternate = GPIO_AF2_TIM3;
  HAL_GPIO_Init(ARDUINO_PWM_D3_GPIO_Port, &GPIO_InitStruct);

  /*Configure GPIO pin : SPDIF_RX0_Pin */
  GPIO_InitStruct.Pin = SPDIF_RX0_Pin;
  GPIO_InitStruct.Mode = GPIO_MODE_AF_PP;
  GPIO_InitStruct.Pull = GPIO_NOPULL;
  GPIO_InitStruct.Speed = GPIO_SPEED_FREQ_LOW;
  GPIO_InitStruct.Alternate = GPIO_AF8_SPDIFRX;
  HAL_GPIO_Init(SPDIF_RX0_GPIO_Port, &GPIO_InitStruct);

  /*Configure GPIO pin : ARDUINO_PWM_D9_Pin */
  GPIO_InitStruct.Pin = ARDUINO_PWM_D9_Pin;
  GPIO_InitStruct.Mode = GPIO_MODE_AF_PP;
  GPIO_InitStruct.Pull = GPIO_NOPULL;
  GPIO_InitStruct.Speed = GPIO_SPEED_FREQ_LOW;
  GPIO_InitStruct.Alternate = GPIO_AF1_TIM2;
  HAL_GPIO_Init(ARDUINO_PWM_D9_GPIO_Port, &GPIO_InitStruct);

  /*Configure GPIO pins : DCMI_D6_Pin DCMI_D7_Pin */
  GPIO_InitStruct.Pin = DCMI_D6_Pin|DCMI_D7_Pin;
  GPIO_InitStruct.Mode = GPIO_MODE_AF_PP;
  GPIO_InitStruct.Pull = GPIO_NOPULL;
  GPIO_InitStruct.Speed = GPIO_SPEED_FREQ_LOW;
  GPIO_InitStruct.Alternate = GPIO_AF13_DCMI;
  HAL_GPIO_Init(GPIOE, &GPIO_InitStruct);

  /*Configure GPIO pin : QSPI_NCS_Pin */
  GPIO_InitStruct.Pin = QSPI_NCS_Pin;
  GPIO_InitStruct.Mode = GPIO_MODE_AF_PP;
  GPIO_InitStruct.Pull = GPIO_NOPULL;
  GPIO_InitStruct.Speed = GPIO_SPEED_FREQ_VERY_HIGH;
  GPIO_InitStruct.Alternate = GPIO_AF10_QUADSPI;
  HAL_GPIO_Init(QSPI_NCS_GPIO_Port, &GPIO_InitStruct);

  /*Configure GPIO pins : FMC_SDNCAS_Pin FMC_SDCLK_Pin FMC_A11_Pin FMC_A10_Pin
                           FMC_BA1_Pin FMC_BA0_Pin */
  GPIO_InitStruct.Pin = FMC_SDNCAS_Pin|FMC_SDCLK_Pin|FMC_A11_Pin|FMC_A10_Pin
                          |FMC_BA1_Pin|FMC_BA0_Pin;
  GPIO_InitStruct.Mode = GPIO_MODE_AF_PP;
  GPIO_InitStruct.Pull = GPIO_NOPULL;
  GPIO_InitStruct.Speed = GPIO_SPEED_FREQ_VERY_HIGH;
  GPIO_InitStruct.Alternate = GPIO_AF12_FMC;
  HAL_GPIO_Init(GPIOG, &GPIO_InitStruct);

  /*Configure GPIO pins : LCD_B1_Pin LCD_B2_Pin LCD_B3_Pin LCD_G4_Pin
                           LCD_G1_Pin LCD_G3_Pin LCD_G0_Pin LCD_G2_Pin
                           LCD_R7_Pin LCD_R5_Pin LCD_R6_Pin LCD_R4_Pin
                           LCD_R3_Pin LCD_R1_Pin LCD_R2_Pin */
  GPIO_InitStruct.Pin = LCD_B1_Pin|LCD_B2_Pin|LCD_B3_Pin|LCD_G4_Pin
                          |LCD_G1_Pin|LCD_G3_Pin|LCD_G0_Pin|LCD_G2_Pin
                          |LCD_R7_Pin|LCD_R5_Pin|LCD_R6_Pin|LCD_R4_Pin
                          |LCD_R3_Pin|LCD_R1_Pin|LCD_R2_Pin;
  GPIO_InitStruct.Mode = GPIO_MODE_AF_PP;
  GPIO_InitStruct.Pull = GPIO_NOPULL;
  GPIO_InitStruct.Speed = GPIO_SPEED_FREQ_LOW;
  GPIO_InitStruct.Alternate = GPIO_AF14_LTDC;
  HAL_GPIO_Init(GPIOJ, &GPIO_InitStruct);

  /*Configure GPIO pin : OTG_FS_VBUS_Pin */
  GPIO_InitStruct.Pin = OTG_FS_VBUS_Pin;
  GPIO_InitStruct.Mode = GPIO_MODE_INPUT;
  GPIO_InitStruct.Pull = GPIO_NOPULL;
  HAL_GPIO_Init(OTG_FS_VBUS_GPIO_Port, &GPIO_InitStruct);

  /*Configure GPIO pin : Audio_INT_Pin */
  GPIO_InitStruct.Pin = Audio_INT_Pin;
  GPIO_InitStruct.Mode = GPIO_MODE_EVT_RISING;
  GPIO_InitStruct.Pull = GPIO_NOPULL;
  HAL_GPIO_Init(Audio_INT_GPIO_Port, &GPIO_InitStruct);

  /*Configure GPIO pins : FMC_D2_Pin FMC_D3_Pin FMC_D1_Pin FMC_D15_Pin
                           FMC_D0_Pin FMC_D14_Pin FMC_D13_Pin */
  GPIO_InitStruct.Pin = FMC_D2_Pin|FMC_D3_Pin|FMC_D1_Pin|FMC_D15_Pin
                          |FMC_D0_Pin|FMC_D14_Pin|FMC_D13_Pin;
  GPIO_InitStruct.Mode = GPIO_MODE_AF_PP;
  GPIO_InitStruct.Pull = GPIO_NOPULL;
  GPIO_InitStruct.Speed = GPIO_SPEED_FREQ_VERY_HIGH;
  GPIO_InitStruct.Alternate = GPIO_AF12_FMC;
  HAL_GPIO_Init(GPIOD, &GPIO_InitStruct);

  /*Configure GPIO pins : OTG_FS_P_Pin OTG_FS_N_Pin OTG_FS_ID_Pin */
  GPIO_InitStruct.Pin = OTG_FS_P_Pin|OTG_FS_N_Pin|OTG_FS_ID_Pin;
  GPIO_InitStruct.Mode = GPIO_MODE_AF_PP;
  GPIO_InitStruct.Pull = GPIO_NOPULL;
  GPIO_InitStruct.Speed = GPIO_SPEED_FREQ_VERY_HIGH;
  GPIO_InitStruct.Alternate = GPIO_AF10_OTG_FS;
  HAL_GPIO_Init(GPIOA, &GPIO_InitStruct);

  /*Configure GPIO pins : SAI2_MCLKA_Pin SAI2_SCKA_Pin SAI2_FSA_Pin SAI2_SDA_Pin */
  GPIO_InitStruct.Pin = SAI2_MCLKA_Pin|SAI2_SCKA_Pin|SAI2_FSA_Pin|SAI2_SDA_Pin;
  GPIO_InitStruct.Mode = GPIO_MODE_AF_PP;
  GPIO_InitStruct.Pull = GPIO_NOPULL;
  GPIO_InitStruct.Speed = GPIO_SPEED_FREQ_LOW;
  GPIO_InitStruct.Alternate = GPIO_AF10_SAI2;
  HAL_GPIO_Init(GPIOI, &GPIO_InitStruct);

  /*Configure GPIO pins : LCD_DE_Pin LCD_B7_Pin LCD_B6_Pin LCD_B5_Pin
                           LCD_G6_Pin LCD_G7_Pin LCD_G5_Pin */
  GPIO_InitStruct.Pin = LCD_DE_Pin|LCD_B7_Pin|LCD_B6_Pin|LCD_B5_Pin
                          |LCD_G6_Pin|LCD_G7_Pin|LCD_G5_Pin;
  GPIO_InitStruct.Mode = GPIO_MODE_AF_PP;
  GPIO_InitStruct.Pull = GPIO_NOPULL;
  GPIO_InitStruct.Speed = GPIO_SPEED_FREQ_LOW;
  GPIO_InitStruct.Alternate = GPIO_AF14_LTDC;
  HAL_GPIO_Init(GPIOK, &GPIO_InitStruct);

  /*Configure GPIO pin : LCD_B4_Pin */
  GPIO_InitStruct.Pin = LCD_B4_Pin;
  GPIO_InitStruct.Mode = GPIO_MODE_AF_PP;
  GPIO_InitStruct.Pull = GPIO_NOPULL;
  GPIO_InitStruct.Speed = GPIO_SPEED_FREQ_LOW;
  GPIO_InitStruct.Alternate = GPIO_AF9_LTDC;
  HAL_GPIO_Init(LCD_B4_GPIO_Port, &GPIO_InitStruct);

  /*Configure GPIO pin : SAI2_SDB_Pin */
  GPIO_InitStruct.Pin = SAI2_SDB_Pin;
  GPIO_InitStruct.Mode = GPIO_MODE_AF_PP;
  GPIO_InitStruct.Pull = GPIO_NOPULL;
  GPIO_InitStruct.Speed = GPIO_SPEED_FREQ_LOW;
  GPIO_InitStruct.Alternate = GPIO_AF10_SAI2;
  HAL_GPIO_Init(SAI2_SDB_GPIO_Port, &GPIO_InitStruct);

  /*Configure GPIO pin : OTG_FS_PowerSwitchOn_Pin */
  GPIO_InitStruct.Pin = OTG_FS_PowerSwitchOn_Pin;
  GPIO_InitStruct.Mode = GPIO_MODE_OUTPUT_PP;
  GPIO_InitStruct.Pull = GPIO_NOPULL;
  GPIO_InitStruct.Speed = GPIO_SPEED_FREQ_LOW;
  HAL_GPIO_Init(OTG_FS_PowerSwitchOn_GPIO_Port, &GPIO_InitStruct);

  /*Configure GPIO pin : DCMI_D5_Pin */
  GPIO_InitStruct.Pin = DCMI_D5_Pin;
  GPIO_InitStruct.Mode = GPIO_MODE_AF_PP;
  GPIO_InitStruct.Pull = GPIO_NOPULL;
  GPIO_InitStruct.Speed = GPIO_SPEED_FREQ_LOW;
  GPIO_InitStruct.Alternate = GPIO_AF13_DCMI;
  HAL_GPIO_Init(DCMI_D5_GPIO_Port, &GPIO_InitStruct);

  /*Configure GPIO pins : ARDUINO_D7_Pin ARDUINO_D8_Pin LCD_DISP_Pin */
  GPIO_InitStruct.Pin = ARDUINO_D7_Pin|ARDUINO_D8_Pin|LCD_DISP_Pin;
  GPIO_InitStruct.Mode = GPIO_MODE_OUTPUT_PP;
  GPIO_InitStruct.Pull = GPIO_NOPULL;
  GPIO_InitStruct.Speed = GPIO_SPEED_FREQ_LOW;
  HAL_GPIO_Init(GPIOI, &GPIO_InitStruct);

  /*Configure GPIO pin : uSD_Detect_Pin */
  GPIO_InitStruct.Pin = uSD_Detect_Pin;
  GPIO_InitStruct.Mode = GPIO_MODE_INPUT;
  GPIO_InitStruct.Pull = GPIO_NOPULL;
  HAL_GPIO_Init(uSD_Detect_GPIO_Port, &GPIO_InitStruct);

  /*Configure GPIO pins : FMC_A0_Pin FMC_A1_Pin FMC_A2_Pin FMC_A3_Pin
                           FMC_A4_Pin FMC_A5_Pin FMC_A6_Pin FMC_A9_Pin
                           FMC_A7_Pin FMC_A8_Pin FMC_SDNRAS_Pin */
  GPIO_InitStruct.Pin = FMC_A0_Pin|FMC_A1_Pin|FMC_A2_Pin|FMC_A3_Pin
                          |FMC_A4_Pin|FMC_A5_Pin|FMC_A6_Pin|FMC_A9_Pin
                          |FMC_A7_Pin|FMC_A8_Pin|FMC_SDNRAS_Pin;
  GPIO_InitStruct.Mode = GPIO_MODE_AF_PP;
  GPIO_InitStruct.Pull = GPIO_NOPULL;
  GPIO_InitStruct.Speed = GPIO_SPEED_FREQ_VERY_HIGH;
  GPIO_InitStruct.Alternate = GPIO_AF12_FMC;
  HAL_GPIO_Init(GPIOF, &GPIO_InitStruct);

  /*Configure GPIO pins : LCD_HSYNC_Pin LCD_VSYNC_Pin LCD_R0_Pin LCD_CLK_Pin */
  GPIO_InitStruct.Pin = LCD_HSYNC_Pin|LCD_VSYNC_Pin|LCD_R0_Pin|LCD_CLK_Pin;
  GPIO_InitStruct.Mode = GPIO_MODE_AF_PP;
  GPIO_InitStruct.Pull = GPIO_NOPULL;
  GPIO_InitStruct.Speed = GPIO_SPEED_FREQ_LOW;
  GPIO_InitStruct.Alternate = GPIO_AF14_LTDC;
  HAL_GPIO_Init(GPIOI, &GPIO_InitStruct);

  /*Configure GPIO pin : LCD_BL_CTRL_Pin */
  GPIO_InitStruct.Pin = LCD_BL_CTRL_Pin;
  GPIO_InitStruct.Mode = GPIO_MODE_OUTPUT_PP;
  GPIO_InitStruct.Pull = GPIO_NOPULL;
  GPIO_InitStruct.Speed = GPIO_SPEED_FREQ_LOW;
  HAL_GPIO_Init(LCD_BL_CTRL_GPIO_Port, &GPIO_InitStruct);

  /*Configure GPIO pin : DCMI_VSYNC_Pin */
  GPIO_InitStruct.Pin = DCMI_VSYNC_Pin;
  GPIO_InitStruct.Mode = GPIO_MODE_AF_PP;
  GPIO_InitStruct.Pull = GPIO_NOPULL;
  GPIO_InitStruct.Speed = GPIO_SPEED_FREQ_LOW;
  GPIO_InitStruct.Alternate = GPIO_AF13_DCMI;
  HAL_GPIO_Init(DCMI_VSYNC_GPIO_Port, &GPIO_InitStruct);

  /*Configure GPIO pin : OTG_FS_OverCurrent_Pin */
  GPIO_InitStruct.Pin = OTG_FS_OverCurrent_Pin;
  GPIO_InitStruct.Mode = GPIO_MODE_INPUT;
  GPIO_InitStruct.Pull = GPIO_NOPULL;
  HAL_GPIO_Init(OTG_FS_OverCurrent_GPIO_Port, &GPIO_InitStruct);

  /*Configure GPIO pins : TP3_Pin NC2_Pin */
  GPIO_InitStruct.Pin = TP3_Pin|NC2_Pin;
  GPIO_InitStruct.Mode = GPIO_MODE_INPUT;
  GPIO_InitStruct.Pull = GPIO_NOPULL;
  HAL_GPIO_Init(GPIOH, &GPIO_InitStruct);

  /*Configure GPIO pin : ARDUINO_SCK_D13_Pin */
  GPIO_InitStruct.Pin = ARDUINO_SCK_D13_Pin;
  GPIO_InitStruct.Mode = GPIO_MODE_AF_PP;
  GPIO_InitStruct.Pull = GPIO_NOPULL;
  GPIO_InitStruct.Speed = GPIO_SPEED_FREQ_LOW;
  GPIO_InitStruct.Alternate = GPIO_AF5_SPI2;
  HAL_GPIO_Init(ARDUINO_SCK_D13_GPIO_Port, &GPIO_InitStruct);

  /*Configure GPIO pin : DCMI_PWR_EN_Pin */
  GPIO_InitStruct.Pin = DCMI_PWR_EN_Pin;
  GPIO_InitStruct.Mode = GPIO_MODE_OUTPUT_PP;
  GPIO_InitStruct.Pull = GPIO_NOPULL;
  GPIO_InitStruct.Speed = GPIO_SPEED_FREQ_LOW;
  HAL_GPIO_Init(DCMI_PWR_EN_GPIO_Port, &GPIO_InitStruct);

  /*Configure GPIO pins : DCMI_D4_Pin DCMI_D3_Pin DCMI_D0_Pin DCMI_D2_Pin
                           DCMI_D1_Pin */
  GPIO_InitStruct.Pin = DCMI_D4_Pin|DCMI_D3_Pin|DCMI_D0_Pin|DCMI_D2_Pin
                          |DCMI_D1_Pin;
  GPIO_InitStruct.Mode = GPIO_MODE_AF_PP;
  GPIO_InitStruct.Pull = GPIO_NOPULL;
  GPIO_InitStruct.Speed = GPIO_SPEED_FREQ_LOW;
  GPIO_InitStruct.Alternate = GPIO_AF13_DCMI;
  HAL_GPIO_Init(GPIOH, &GPIO_InitStruct);

  /*Configure GPIO pin : ARDUINO_PWM_CS_D5_Pin */
  GPIO_InitStruct.Pin = ARDUINO_PWM_CS_D5_Pin;
  GPIO_InitStruct.Mode = GPIO_MODE_AF_PP;
  GPIO_InitStruct.Pull = GPIO_NOPULL;
  GPIO_InitStruct.Speed = GPIO_SPEED_FREQ_LOW;
  GPIO_InitStruct.Alternate = GPIO_AF2_TIM5;
  HAL_GPIO_Init(ARDUINO_PWM_CS_D5_GPIO_Port, &GPIO_InitStruct);

  /*Configure GPIO pin : ARDUINO_PWM_D10_Pin */
  GPIO_InitStruct.Pin = ARDUINO_PWM_D10_Pin;
  GPIO_InitStruct.Mode = GPIO_MODE_AF_PP;
  GPIO_InitStruct.Pull = GPIO_NOPULL;
  GPIO_InitStruct.Speed = GPIO_SPEED_FREQ_LOW;
  GPIO_InitStruct.Alternate = GPIO_AF1_TIM1;
  HAL_GPIO_Init(ARDUINO_PWM_D10_GPIO_Port, &GPIO_InitStruct);

  /*Configure GPIO pin : LCD_INT_Pin */
  GPIO_InitStruct.Pin = LCD_INT_Pin;
  GPIO_InitStruct.Mode = GPIO_MODE_EVT_RISING;
  GPIO_InitStruct.Pull = GPIO_NOPULL;
  HAL_GPIO_Init(LCD_INT_GPIO_Port, &GPIO_InitStruct);

  /*Configure GPIO pins : ARDUINO_RX_D0_Pin ARDUINO_TX_D1_Pin */
  GPIO_InitStruct.Pin = ARDUINO_RX_D0_Pin|ARDUINO_TX_D1_Pin;
  GPIO_InitStruct.Mode = GPIO_MODE_AF_PP;
  GPIO_InitStruct.Pull = GPIO_NOPULL;
  GPIO_InitStruct.Speed = GPIO_SPEED_FREQ_VERY_HIGH;
  GPIO_InitStruct.Alternate = GPIO_AF8_USART6;
  HAL_GPIO_Init(GPIOC, &GPIO_InitStruct);

  /*Configure GPIO pin : ULPI_NXT_Pin */
  GPIO_InitStruct.Pin = ULPI_NXT_Pin;
  GPIO_InitStruct.Mode = GPIO_MODE_AF_PP;
  GPIO_InitStruct.Pull = GPIO_NOPULL;
  GPIO_InitStruct.Speed = GPIO_SPEED_FREQ_VERY_HIGH;
  GPIO_InitStruct.Alternate = GPIO_AF10_OTG_HS;
  HAL_GPIO_Init(ULPI_NXT_GPIO_Port, &GPIO_InitStruct);

  /*Configure GPIO pins : FMC_SDNME_Pin FMC_SDNE0_Pin */
  GPIO_InitStruct.Pin = FMC_SDNME_Pin|FMC_SDNE0_Pin;
  GPIO_InitStruct.Mode = GPIO_MODE_AF_PP;
  GPIO_InitStruct.Pull = GPIO_NOPULL;
  GPIO_InitStruct.Speed = GPIO_SPEED_FREQ_VERY_HIGH;
  GPIO_InitStruct.Alternate = GPIO_AF12_FMC;
  HAL_GPIO_Init(GPIOH, &GPIO_InitStruct);

  /*Configure GPIO pins : ARDUINO_D4_Pin ARDUINO_D2_Pin EXT_RST_Pin */
  GPIO_InitStruct.Pin = ARDUINO_D4_Pin|ARDUINO_D2_Pin|EXT_RST_Pin;
  GPIO_InitStruct.Mode = GPIO_MODE_OUTPUT_PP;
  GPIO_InitStruct.Pull = GPIO_NOPULL;
  GPIO_InitStruct.Speed = GPIO_SPEED_FREQ_LOW;
  HAL_GPIO_Init(GPIOG, &GPIO_InitStruct);

  /*Configure GPIO pins : ARDUINO_A4_Pin ARDUINO_A5_Pin ARDUINO_A1_Pin ARDUINO_A2_Pin
                           ARDUINO_A3_Pin */
  GPIO_InitStruct.Pin = ARDUINO_A4_Pin|ARDUINO_A5_Pin|ARDUINO_A1_Pin|ARDUINO_A2_Pin
                          |ARDUINO_A3_Pin;
  GPIO_InitStruct.Mode = GPIO_MODE_ANALOG;
  GPIO_InitStruct.Pull = GPIO_NOPULL;
  HAL_GPIO_Init(GPIOF, &GPIO_InitStruct);

  /*Configure GPIO pin : FMC_SDCKE0_Pin */
  GPIO_InitStruct.Pin = FMC_SDCKE0_Pin;
  GPIO_InitStruct.Mode = GPIO_MODE_AF_PP;
  GPIO_InitStruct.Pull = GPIO_NOPULL;
  GPIO_InitStruct.Speed = GPIO_SPEED_FREQ_VERY_HIGH;
  GPIO_InitStruct.Alternate = GPIO_AF12_FMC;
  HAL_GPIO_Init(FMC_SDCKE0_GPIO_Port, &GPIO_InitStruct);

  /*Configure GPIO pins : ULPI_STP_Pin ULPI_DIR_Pin */
  GPIO_InitStruct.Pin = ULPI_STP_Pin|ULPI_DIR_Pin;
  GPIO_InitStruct.Mode = GPIO_MODE_AF_PP;
  GPIO_InitStruct.Pull = GPIO_NOPULL;
  GPIO_InitStruct.Speed = GPIO_SPEED_FREQ_VERY_HIGH;
  GPIO_InitStruct.Alternate = GPIO_AF10_OTG_HS;
  HAL_GPIO_Init(GPIOC, &GPIO_InitStruct);

  /*Configure GPIO pins : RMII_MDC_Pin RMII_RXD0_Pin RMII_RXD1_Pin */
  GPIO_InitStruct.Pin = RMII_MDC_Pin|RMII_RXD0_Pin|RMII_RXD1_Pin;
  GPIO_InitStruct.Mode = GPIO_MODE_AF_PP;
  GPIO_InitStruct.Pull = GPIO_NOPULL;
  GPIO_InitStruct.Speed = GPIO_SPEED_FREQ_VERY_HIGH;
  GPIO_InitStruct.Alternate = GPIO_AF11_ETH;
  HAL_GPIO_Init(GPIOC, &GPIO_InitStruct);

  /*Configure GPIO pin : PB2 */
  GPIO_InitStruct.Pin = GPIO_PIN_2;
  GPIO_InitStruct.Mode = GPIO_MODE_AF_PP;
  GPIO_InitStruct.Pull = GPIO_NOPULL;
  GPIO_InitStruct.Speed = GPIO_SPEED_FREQ_VERY_HIGH;
  GPIO_InitStruct.Alternate = GPIO_AF9_QUADSPI;
  HAL_GPIO_Init(GPIOB, &GPIO_InitStruct);

  /*Configure GPIO pins : QSPI_D1_Pin QSPI_D3_Pin QSPI_D0_Pin */
  GPIO_InitStruct.Pin = QSPI_D1_Pin|QSPI_D3_Pin|QSPI_D0_Pin;
  GPIO_InitStruct.Mode = GPIO_MODE_AF_PP;
  GPIO_InitStruct.Pull = GPIO_NOPULL;
  GPIO_InitStruct.Speed = GPIO_SPEED_FREQ_VERY_HIGH;
  GPIO_InitStruct.Alternate = GPIO_AF9_QUADSPI;
  HAL_GPIO_Init(GPIOD, &GPIO_InitStruct);

  /*Configure GPIO pin : RMII_RXER_Pin */
  GPIO_InitStruct.Pin = RMII_RXER_Pin;
  GPIO_InitStruct.Mode = GPIO_MODE_INPUT;
  GPIO_InitStruct.Pull = GPIO_NOPULL;
  HAL_GPIO_Init(RMII_RXER_GPIO_Port, &GPIO_InitStruct);

  /*Configure GPIO pins : RMII_REF_CLK_Pin RMII_MDIO_Pin RMII_CRS_DV_Pin */
  GPIO_InitStruct.Pin = RMII_REF_CLK_Pin|RMII_MDIO_Pin|RMII_CRS_DV_Pin;
  GPIO_InitStruct.Mode = GPIO_MODE_AF_PP;
  GPIO_InitStruct.Pull = GPIO_NOPULL;
  GPIO_InitStruct.Speed = GPIO_SPEED_FREQ_VERY_HIGH;
  GPIO_InitStruct.Alternate = GPIO_AF11_ETH;
  HAL_GPIO_Init(GPIOA, &GPIO_InitStruct);

  /*Configure GPIO pin : ARDUINO_A0_Pin */
  GPIO_InitStruct.Pin = ARDUINO_A0_Pin;
  GPIO_InitStruct.Mode = GPIO_MODE_ANALOG;
  GPIO_InitStruct.Pull = GPIO_NOPULL;
  HAL_GPIO_Init(ARDUINO_A0_GPIO_Port, &GPIO_InitStruct);

  /*Configure GPIO pins : DCMI_HSYNC_Pin PA6 */
  GPIO_InitStruct.Pin = DCMI_HSYNC_Pin|GPIO_PIN_6;
  GPIO_InitStruct.Mode = GPIO_MODE_AF_PP;
  GPIO_InitStruct.Pull = GPIO_NOPULL;
  GPIO_InitStruct.Speed = GPIO_SPEED_FREQ_LOW;
  GPIO_InitStruct.Alternate = GPIO_AF13_DCMI;
  HAL_GPIO_Init(GPIOA, &GPIO_InitStruct);

  /*Configure GPIO pins : LCD_SCL_Pin LCD_SDA_Pin */
  GPIO_InitStruct.Pin = LCD_SCL_Pin|LCD_SDA_Pin;
  GPIO_InitStruct.Mode = GPIO_MODE_AF_OD;
  GPIO_InitStruct.Pull = GPIO_NOPULL;
  GPIO_InitStruct.Speed = GPIO_SPEED_FREQ_VERY_HIGH;
  GPIO_InitStruct.Alternate = GPIO_AF4_I2C3;
  HAL_GPIO_Init(GPIOH, &GPIO_InitStruct);

  /*Configure GPIO pins : ULPI_CLK_Pin ULPI_D0_Pin */
  GPIO_InitStruct.Pin = ULPI_CLK_Pin|ULPI_D0_Pin;
  GPIO_InitStruct.Mode = GPIO_MODE_AF_PP;
  GPIO_InitStruct.Pull = GPIO_NOPULL;
  GPIO_InitStruct.Speed = GPIO_SPEED_FREQ_VERY_HIGH;
  GPIO_InitStruct.Alternate = GPIO_AF10_OTG_HS;
  HAL_GPIO_Init(GPIOA, &GPIO_InitStruct);

  /*Configure GPIO pin : ARDUINO_PWM_D6_Pin */
  GPIO_InitStruct.Pin = ARDUINO_PWM_D6_Pin;
  GPIO_InitStruct.Mode = GPIO_MODE_AF_PP;
  GPIO_InitStruct.Pull = GPIO_NOPULL;
  GPIO_InitStruct.Speed = GPIO_SPEED_FREQ_LOW;
  GPIO_InitStruct.Alternate = GPIO_AF9_TIM12;
  HAL_GPIO_Init(ARDUINO_PWM_D6_GPIO_Port, &GPIO_InitStruct);

  /*Configure GPIO pins : ARDUINO_MISO_D12_Pin ARDUINO_MOSI_PWM_D11_Pin */
  GPIO_InitStruct.Pin = ARDUINO_MISO_D12_Pin|ARDUINO_MOSI_PWM_D11_Pin;
  GPIO_InitStruct.Mode = GPIO_MODE_AF_PP;
  GPIO_InitStruct.Pull = GPIO_NOPULL;
  GPIO_InitStruct.Speed = GPIO_SPEED_FREQ_LOW;
  GPIO_InitStruct.Alternate = GPIO_AF5_SPI2;
  HAL_GPIO_Init(GPIOB, &GPIO_InitStruct);

}

void Error_Handler(void)
{
  /* USER CODE BEGIN Error_Handler_Debug */
  /* User can add his own implementation to report the HAL error return state */
	printf("Error_Handler: fatal error, entering infinite loop\r\n");
  __disable_irq();
  while (1)
  {
	  HAL_Delay(250);
  }
  /* USER CODE END Error_Handler_Debug */
}
#ifdef USE_FULL_ASSERT
/**
  * @brief  Reports the name of the source file and the source line number
  *         where the assert_param error has occurred.
  * @param  file: pointer to the source file name
  * @param  line: assert_param error line source number
  * @retval None
  */
void assert_failed(uint8_t *file, uint32_t line)
{
  /* USER CODE BEGIN 6 */
	printf("Assertion failed: file %s, line %lu\r\n", file, (unsigned long)line);
  /* User can add his own implementation to report the file name and line number,
     ex: printf("Wrong parameters value: file %s on line %d\r\n", file, line) */
  /* USER CODE END 6 */
}
#endif /* USE_FULL_ASSERT */
